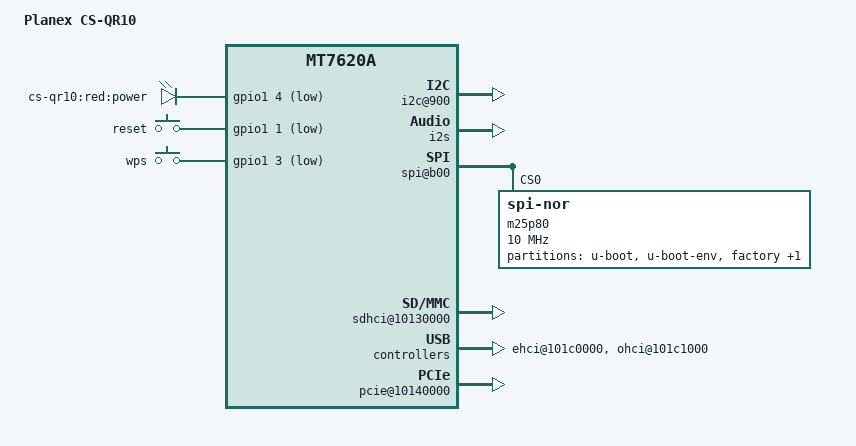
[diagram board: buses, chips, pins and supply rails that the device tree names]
/dts-v1/;

/include/ "mt7620a.dtsi"

/ {
	compatible = "ralink,mt7620a-soc";
	model = "Planex CS-QR10";

	palmbus@10000000 {
		gpio0: gpio@600 {
			status = "okay";
		};

		gpio1: gpio@638 {
			status = "okay";
		};

		gpio2: gpio@660 {
			status = "okay";
		};

		gpio3: gpio@688 {
			status = "okay";
		};

		i2c@900 {
			status = "okay";
		};

		i2s: i2s@a00 {
			status = "okay";
			pinctrl-names = "default";
			pinctrl-0 = <&pcm_i2s_pins>;
		};

		spi@b00 {
			status = "okay";

			m25p80@0 {
				#address-cells = <1>;
				#size-cells = <1>;
				compatible = "jedec,spi-nor";
				reg = <0 0>;
				linux,modalias = "m25p80", "mx25l6405d";
				spi-max-frequency = <10000000>;

				partition@0 {
					label = "u-boot";
					reg = <0x0 0x30000>;
					read-only;
				};

				partition@30000 {
					label = "u-boot-env";
					reg = <0x30000 0x10000>;
					read-only;
				};

				factory: partition@40000 {
					label = "factory";
					reg = <0x40000 0x10000>;
					read-only;
				};

				partition@50000 {
					label = "firmware";
					reg = <0x50000 0x7b0000>;
				};
			};
		};

		pcm@2000 {
			status = "okay";
		};

		gdma@2800 {
			status = "okay";
		};
	};

	pinctrl {
		state_default: pinctrl0 {
			gpio {
				ralink,group = "spi refclk", "rgmii1";
				ralink,function = "gpio";
			};
			wdt {
				ralink,group = "wdt";
				ralink,function = "wdt refclk";
			};
		};
	};

	ethernet@10100000 {
		pinctrl-names = "default";
		pinctrl-0 = <&ephy_pins>;
		mtd-mac-address = <&factory 0x4>;
		mediatek,portmap = "llllw";
	};

	gsw@10110000 {
		ralink,port4 = "ephy";
	};

	sdhci@10130000 {
		status = "okay";
	};

	ehci@101c0000 {
		status = "okay";
	};

	ohci@101c1000 {
		status = "okay";
	};

	wmac@10180000 {
		ralink,mtd-eeprom = <&factory 0>;
	};

	pcie@10140000 {
		status = "okay";
	};

	sound {
		compatible = "mediatek,mt7620-audio-wm8960";
		model = "mt7620-wm8960";
		i2s-controller = <&i2s>;
		audio-routing =
		"Ext Spk", "SPK_LP",
 		"Ext Spk", "SPK_LN",
		"Ext Spk", "SPK_RP",
 		"Ext Spk", "SPK_RN";
	};

	gpio-leds {
		compatible = "gpio-leds";

		power {
			label = "cs-qr10:red:power";
			gpios = <&gpio1 4 1>;
		};
	};

	gpio-keys-polled {
		compatible = "gpio-keys-polled";
		#address-cells = <1>;
		#size-cells = <0>;
		poll-interval = <20>;

		s1 {
			label = "reset";
			gpios = <&gpio1 1 1>;
			linux,code = <0x198>;
		};

		s2 {
			label = "wps";
			gpios = <&gpio1 3 1>;
			linux,code = <0x211>;
		};
	};
};
